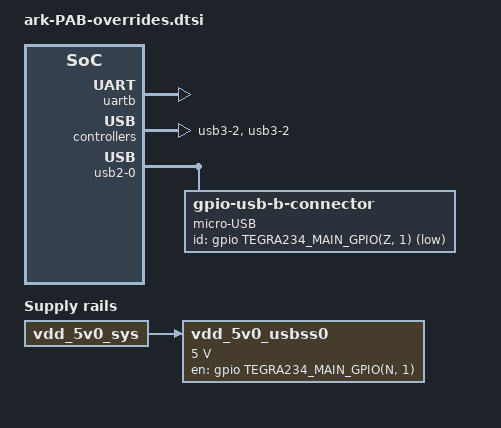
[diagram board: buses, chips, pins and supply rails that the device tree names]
// SPDX-License-Identifier: GPL-2.0
/*
 * ARK PAB carrier device-tree delta.
 *
 * build.sh appends an #include of this file to the stock
 * tegra234-p3768-0000+p3767-xxxx-nv-common.dtsi, so it is layered last over the
 * pristine BSP tree. Only ARK's delta lives here; everything else tracks the BSP.
 * Per-SKU model strings are stamped separately from products/PAB/dtb_models.env.
 */

/ {
	aliases {
		serial3 = &uartb;
	};

	/* VBUS for the single USB-A (J33) is a load switch (U20, active-high enable) gated by
	 * soc_gpio39/PN.01, which the board also pulls up through R144 (100K to 1V8). Modelling it
	 * as a regulator gives the kernel the pin; deliberately NOT boot-on, so reg-fixed-voltage
	 * takes it low at probe and tegra186_utmi_phy_init raises it when xhci brings usb2-2 up.
	 * VBUS then arrives with the host, as it does on the other three USB-A ports (the onboard
	 * USB2 hub powers those only once it has enumerated). Asserted any earlier, a SuperSpeed
	 * device on J33 finishes its Rx.Detect handshake before the host exists and parks: its USB2
	 * companion still enumerates, the SS link never appears, and nothing short of a VBUS cycle
	 * recovers it. The MB1 gpio BCT holds the same pin low through the bootloader.
	 * Open drain: U20's FLG (open-drain fault flag) is wired to the same net so an over-current
	 * pulls EN low; a push-pull high would fight it. gpio-tegra186 has no native open drain, so
	 * gpiolib emulates it — "high" is Hi-Z and R144 does the pulling. */
	vdd_5v0_usbss0: regulator-usbss0-vbus {
		compatible = "regulator-fixed";
		regulator-name = "VDD_5V0_USBSS0";
		regulator-min-microvolt = <5000000>;
		regulator-max-microvolt = <5000000>;
		gpio = <&gpio TEGRA234_MAIN_GPIO(N, 1) (GPIO_ACTIVE_HIGH | GPIO_OPEN_DRAIN)>;
		enable-active-high;
		vin-supply = <&vdd_5v0_sys>;
	};
};

/* UARTB is wired on the carrier but undefined by the stock SoC dtsi. Declared as an
 * hsuart (not the tegra20-uart/8250 base) so it enumerates as /dev/ttyTHS*, like the
 * other Tegra UARTs. Stays PIO — stock's gpcdma RX-DMA corrupts the hsuart RX stream
 * at high baud (see UART-A below). */
&{/bus@0} {
	uartb: serial@3110000 {
		compatible = "nvidia,tegra194-hsuart";
		reg = <0x0 0x03110000 0x0 0x10000>;
		interrupts = <GIC_SPI 113 IRQ_TYPE_LEVEL_HIGH>;
		clocks = <&bpmp TEGRA234_CLK_UARTB>;
		resets = <&bpmp TEGRA234_RESET_UARTB>;
		reset-names = "serial";
		status = "okay";
	};
};

/* UART-A (TELEM2/ttyTHS1) inherits gpcdma RX/TX DMA from stock R36.5.0, and that DMA
 * path corrupts the hsuart RX stream at 3 Mbaud. Force PIO, like UART-B. */
&{/bus@0/serial@3100000} {
	/delete-property/ dmas;
	/delete-property/ dma-names;
};

/* HD-Audio is used on the carrier. */
&{/bus@0/hda@3510000} {
	status = "okay";
};

/* JetPack 6.2.2 (R36.5.0) regression: the stock display node's hdcp_enabled breaks the
 * DP->HDMI adapter negotiation path (DpAuxchCtrl DCE RPC 0x731341 fails, so the adapter
 * yields no EDID/modes and the SOR never lights), while a native DP sink is unaffected.
 * L4T doesn't implement HDCP, so the property is inert here — drop it. */
&{/display@13800000} {
	/delete-property/ hdcp_enabled;
};

/* ARK carrier has no FUSB301 USB-C controller / I2C USB switcher. */
&{/bus@0/i2c@c240000} {
	/delete-node/ fusb301@25;
};

/* Third USB3 lane for the dual USB-A port. */
&{/bus@0/padctl@3520000/pads/usb3/lanes} {
	usb3-2 {
		nvidia,function = "xusb";
		status = "okay";
	};
};

/* Recovery/OTG port: a mux hands usb2-0 to the FMU's USB, or to the micro-USB when that has VBUS.
 * No ID pin — the "id" line is inverted VBUS-detect on PZ.01, so active-low reads host idle (FMU)
 * and device with a recovery cable in. Drop the stock Type-C link. */
&{/bus@0/padctl@3520000/ports/usb2-0} {
	/delete-node/ port;
	connector {
		compatible = "gpio-usb-b-connector", "usb-b-connector";
		label = "micro-USB";
		type = "micro";
		id-gpios = <&gpio TEGRA234_MAIN_GPIO(Z, 1) GPIO_ACTIVE_LOW>;
	};
};

/* USB-A mapping: usb2-2 + usb3-0 = J33; usb3-1/usb3-2 = J34 lower/upper, whose USB2 halves are
 * downstream ports of the USB2 hub on usb2-1 — hence the shared companion (T234 uses it only for
 * PORT_CAP and the OTG lookup). Leave usb3-3 unused: OTG usb2-0 has no SS companion and the padctl
 * takes a free usb3 port as its device-mode fake. */
&{/bus@0/padctl@3520000/ports} {
	usb2-2 { vbus-supply = <&vdd_5v0_usbss0>; };
	usb3-0 { nvidia,usb2-companion = <2>; };
	usb3-1 { nvidia,usb2-companion = <1>; };
	usb3-2 {
		nvidia,usb2-companion = <1>;
		status = "okay";
	};
};

/* Recovery/OTG controller drives only usb2-0 on this carrier. */
&{/bus@0/usb@3550000} {
	phys = <&{/bus@0/padctl@3520000/pads/usb2/lanes/usb2-0}>;
	phy-names = "usb2-0";
};

/* Host controller gains the third USB3 lane. */
&{/bus@0/usb@3610000} {
	phys = <&{/bus@0/padctl@3520000/pads/usb2/lanes/usb2-0}>,
	       <&{/bus@0/padctl@3520000/pads/usb2/lanes/usb2-1}>,
	       <&{/bus@0/padctl@3520000/pads/usb2/lanes/usb2-2}>,
	       <&{/bus@0/padctl@3520000/pads/usb3/lanes/usb3-0}>,
	       <&{/bus@0/padctl@3520000/pads/usb3/lanes/usb3-1}>,
	       <&{/bus@0/padctl@3520000/pads/usb3/lanes/usb3-2}>;
	phy-names = "usb2-0", "usb2-1", "usb2-2", "usb3-0",
		    "usb3-1", "usb3-2";
};

/* PCIe: C1 = M.2 Key E, C4 = M.2 Key M, C8 = the module's own Ethernet controller. C7 (module
 * PCIE2, x2 on the GBE UPHY) has no pins on this carrier; stock leaves it enabled and it logs
 * "Phy link never came up" on every boot. */
&{/bus@0/pcie@141e0000} {
	status = "disabled";
};
